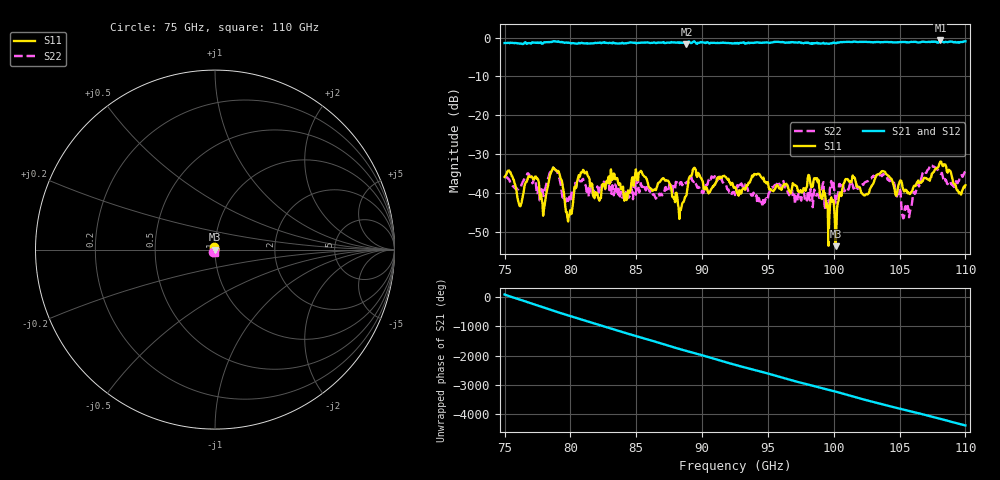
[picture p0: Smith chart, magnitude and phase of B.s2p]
!Created with skrf (http://scikit-rf.org).
# GHz S RI R 50.0
!freq ReS11 ImS11 ReS21 ImS21 ReS12 ImS12 ReS22 ImS22
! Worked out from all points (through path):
!   647 points, 75 GHz to 110 GHz, reference 50 ohm
!   highest |S21| = -0.74 dB at 108.1 GHz (marker M1); lowest = -1.7 dB at 88.82 GHz (marker M2)
!   lowest |S11| = -53.7 dB at 100.1 GHz (marker M3), VSWR 1.00, Z = 49.8 - j0.0728 ohm
!   |S11| at or under -10 dB: start of sweep to end of sweep
!   |S22| runs from -46.5 to -32.9 dB; largest |S21 - S12| = 0
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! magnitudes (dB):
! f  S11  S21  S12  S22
! 75 GHz  -35.9  -1.4  -1.4  -35.9
! 76.14 GHz  -43.3  -1.6  -1.6  -38.8
! 77.44 GHz  -36.3  -1.4  -1.4  -40.2
! 77.98 GHz  -44.3  -1.3  -1.3  -40.7
! 78.85 GHz  -34.0  -1.0  -1.0  -34.1
! 79.93 GHz  -45.5  -1.4  -1.4  -40.9
! 80.85 GHz  -34.7  -1.4  -1.4  -37.0
! 82.15 GHz  -41.6  -1.3  -1.3  -39.9
! 83.24 GHz  -35.1  -1.3  -1.3  -38.8
! 84.21 GHz  -40.1  -1.5  -1.5  -39.7
! 86.7 GHz  -37.3  -1.3  -1.3  -40.6
! 88.33 GHz  -44.3  -1.3  -1.3  -37.3
! 88.82 GHz  -40.5  -1.7  -1.7  -37.3
! 89.36 GHz  -33.6  -1.0  -1.0  -37.2
! 92.5 GHz  -38.6  -1.4  -1.4  -40.5
! 98.35 GHz  -38.2  -1.4  -1.4  -40.1
! 100.1 GHz  -53.7  -1.5  -1.5  -42.6
! 100.9 GHz  -36.4  -1.1  -1.1  -38.7
! 104.2 GHz  -35.7  -1.2  -1.2  -36.8
! 105.3 GHz  -39.6  -1.2  -1.2  -46.1
! 108.1 GHz  -31.9  -0.7  -0.7  -35.1
! 110 GHz  -38.0  -1.0  -1.0  -34.3
